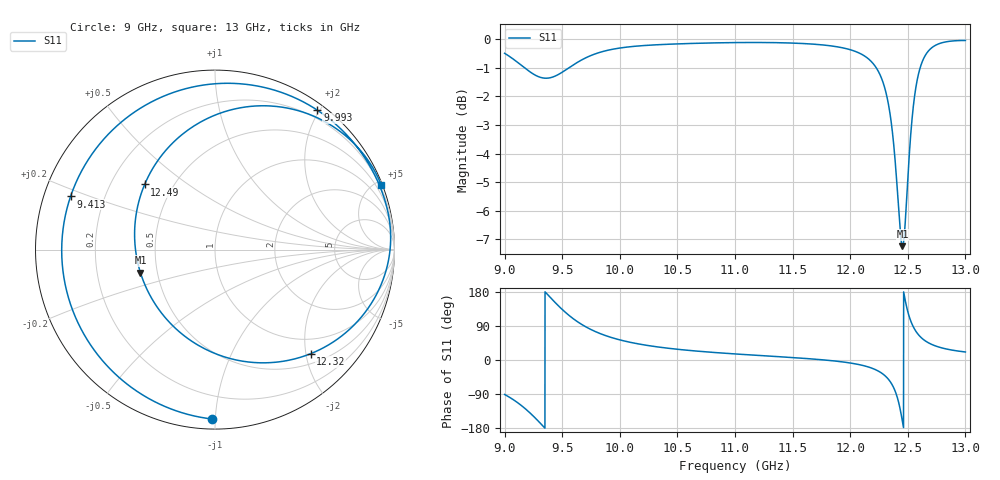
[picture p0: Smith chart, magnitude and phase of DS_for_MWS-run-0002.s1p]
! TOUCHSTONE file generated by CST DESIGN STUDIO
! Date and time: Tue Feb  4 16:06:12 2025
! Project name: C:\Work\MatlabApps\UnitCellOptimizationMatlab\CST\unitcell.cst
! Tree item: Tasks\Sweep1\SPara1\S-Parameters
! Header version: 2024
! Port assignment regex: !\s*Touchstone port\s*([0-9]+)\s*=\s*(CST MWS port|CST DES external port|CST DES block port)\s*(.+)\s* \(\"(.*)\"\)(\s*mode\s*([0-9]+))?.*
! Touchstone port assignment:
! Touchstone port 1 = CST DES external port 1 ("")
# GHz S MA R 50
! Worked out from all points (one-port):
!   4001 points, 9 GHz to 13 GHz, reference 50 ohm
!   lowest |S11| = -7.2 dB at 12.45 GHz (marker M1), VSWR 2.54, Z = 20.1 - j6.33 ohm
!   |S11| at or under -10 dB: nowhere
!   S11 on the Smith chart (normalised r, x): 9 GHz: 0.06, -0.98; 9.413 GHz: 0.08, +0.18; 9.993 GHz: 0.09, +1.97; 12.32 GHz: 0.68, -2.09; 12.49 GHz: 0.35, +0.35; 13 GHz: 0.09, +5.36
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9  0.944 -90.9
9.102  0.9137 -110.2
9.193  0.8843 -132.2
9.31  0.8571 -166.9
9.413  0.8575 159.8
9.5  0.8749 133.4
9.587  0.8984 111.0
9.683  0.9224 91.3
9.829  0.9479 69.8
9.993  0.9637 53.7
10  0.9642 53.1
10.5  0.9804 28.3
11  0.9856 16.0
11.5  0.9836 6.4
12  0.9578 -7.9
12.206  0.9023 -23.7
12.322  0.7876 -47.4
12.398  0.5852 -88.5
12.425  0.4887 -117.5
12.454  0.4348 -162.9
12.492  0.5342 137.2
12.5  0.5698 127.5
12.53  0.6992 99.6
12.562  0.803 79.8
12.613  0.8982 60.0
12.672  0.9491 46.6
12.796  0.9848 31.9
13  0.994 21.1
